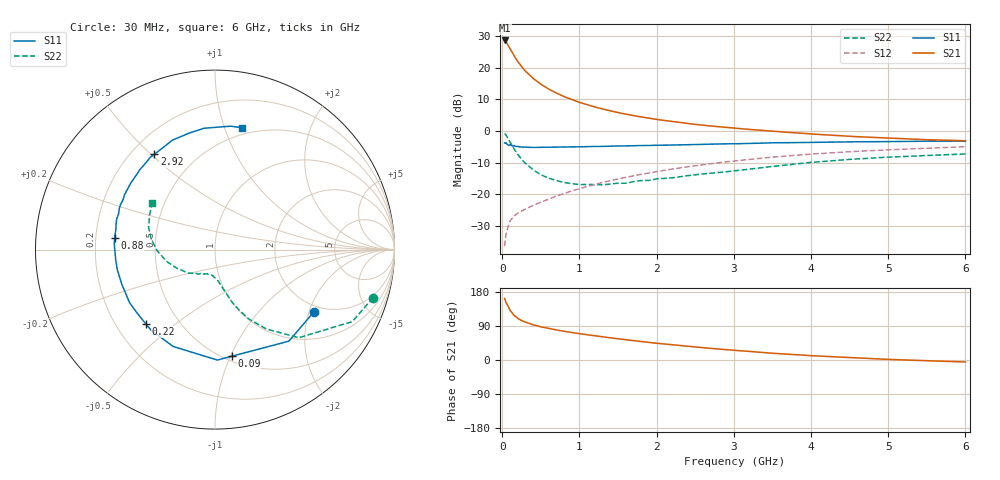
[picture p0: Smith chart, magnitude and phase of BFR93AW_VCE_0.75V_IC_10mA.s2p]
! Infineon Technologies  Discrete & RF Semiconductors
! BFR93AW
! VCE = 0.75 V,  IC =  10 mA
! Common Emitter S-Parameters:  Nov 2015
# GHz  S  MA  R  50
!  f  S11  S21  S12  S22
! GHz  MAG  ANG  MAG  ANG  MAG  ANG  MAG  ANG
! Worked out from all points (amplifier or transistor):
!   206 points, 30 MHz to 6 GHz, reference 50 ohm
!   highest |S21| = 28.6 dB at 30 MHz (marker M1)
!   |S21| within 3 dB of that: start of sweep to 111 MHz
!   unconditionally stable (mu >= 1): 676.5 MHz to 2.756 GHz
!   at 200 MHz: K = 0.51, MSG = 23.9 dB, |S12| = -25.9 dB
!   at 1.56 GHz: K = 1.09, MAG = 8.3 dB, |S12| = -14.8 dB
!   at 6 GHz: K = 0.99, MSG = 0.9 dB, |S12| = -4.9 dB
!   S11 on the Smith chart (normalised r, x): 30 MHz: 1.79, -2.15; 90 MHz: 0.54, -1.01; 220 MHz: 0.33, -0.40; 880 MHz: 0.28, +0.05; 2.92 GHz: 0.29, +0.51; 6 GHz: 0.44, +1.15
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0.03  0.651 -32.2  26.93 162.4  0.0153 73.7  0.9206 -16.9
0.05  0.6555 -51.1  25.56 150.9  0.0247 67.3  0.8636 -27.7
0.09  0.6015 -81.1  20.98 135.5  0.0352 57.1  0.7071 -42.0
0.1  0.6155 -88.8  20.14 130.7  0.038 55.4  0.6768 -46.5
0.15  0.5879 -113.4  15.59 118.1  0.0457 49.4  0.5269 -57.1
0.2  0.573 -128.5  12.54 109.9  0.0506 47.3  0.4288 -64.1
0.22  0.5652 -133.0  11.66 107.8  0.0523 47.3  0.3999 -65.7
0.26  0.5595 -141.6  10.06 103.2  0.0557 47.3  0.3478 -69.2
0.3  0.5604 -148.1  8.835 99.5  0.0587 47.7  0.3104 -71.9
0.4  0.5541 -159.9  6.764 92.7  0.0673 50.4  0.244 -76.3
0.5  0.5556 -168.1  5.485 87.5  0.0757 52.5  0.2049 -80.4
0.6  0.5562 -173.9  4.606 83.3  0.0847 55.0  0.1809 -83.4
0.7  0.5581 -179.1  3.989 79.3  0.0941 56.7  0.166 -86.7
0.88  0.563 173.3  3.21 73.3  0.1119 58.8  0.1494 -93.4
1.04  0.5654 167.5  2.743 68.4  0.1278 59.7  0.1437 -99.5
1.5  0.5831 154.6  1.957 56.0  0.1757 59.9  0.1506 -115.3
2.02  0.5982 141.5  1.516 43.8  0.2315 57.3  0.1769 -130.3
2.92  0.6296 122.4  1.137 27.0  0.3292 49.7  0.2296 -152.0
3.1  0.6342 118.8  1.089 24.2  0.3473 47.8  0.2428 -156.5
4.1  0.6662 101.3  0.886 10.4  0.4417 36.7  0.3278 179.1
5.1  0.6842 87.6  0.767 0.9  0.5132 25.4  0.3926 159.8
6  0.6953 77.4  0.705 -5.3  0.5665 16.2  0.4362 143.4
